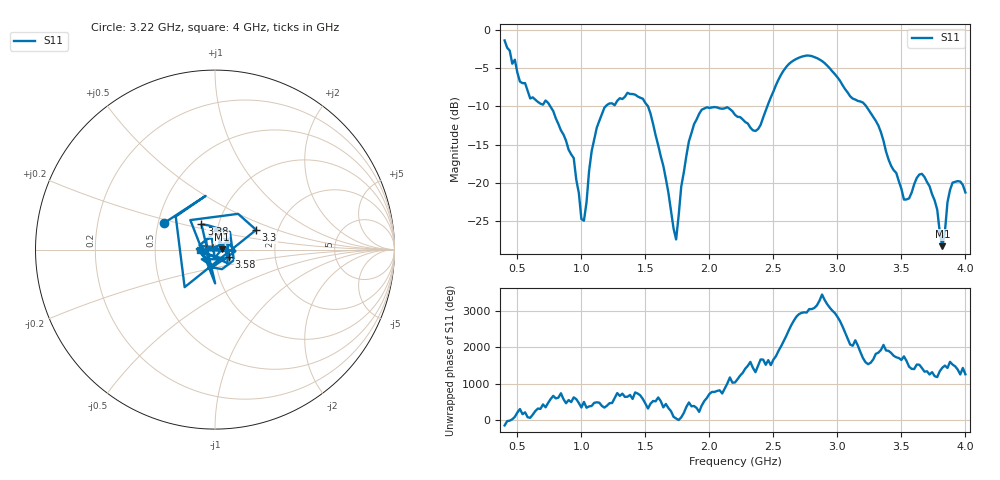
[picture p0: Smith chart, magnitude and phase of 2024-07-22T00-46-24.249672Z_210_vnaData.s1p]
!Created with skrf (http://scikit-rf.org).
# Hz S RI R 50.0
!freq ReS11 ImS11
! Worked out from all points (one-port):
!   181 points, 400 MHz to 4 GHz, reference 50 ohm
!   lowest |S11| = -28.3 dB at 3.82 GHz (marker M1), VSWR 1.08, Z = 54 + j0.248 ohm
!   |S11| at or under -10 dB: 757.8 MHz to 1.189 GHz (430.9 MHz wide, 44.3 % of centre); 1.521 GHz to 2.452 GHz (931.3 MHz wide, 46.9 % of centre); 3.226 GHz to end of sweep
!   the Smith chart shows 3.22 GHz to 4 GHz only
!   S11 on the Smith chart (normalised r, x): 3.22 GHz: 0.54, +0.17; 3.3 GHz: 1.54, +0.36; 3.38 GHz: 0.83, +0.24; 3.58 GHz: 1.16, -0.09; 4 GHz: 0.84, -0.01
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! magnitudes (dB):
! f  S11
! 400 MHz  -1.3
! 600 MHz  -9.0
! 740 MHz  -9.5
! 860 MHz  -13.7
! 940 MHz  -16.8
! 1.02 GHz  -25.0
! 1.12 GHz  -12.8
! 1.3 GHz  -8.9
! 1.52 GHz  -10.0
! 1.74 GHz  -27.5
! 1.76 GHz  -24.3
! 1.84 GHz  -14.6
! 1.92 GHz  -11.0
! 2.2 GHz  -11.1
! 2.38 GHz  -13.0
! 2.66 GHz  -3.9
! 2.88 GHz  -4.0
! 3.1 GHz  -8.7
! 3.22 GHz  -9.9
! 3.3 GHz  -11.9
! 3.38 GHz  -15.9
! 3.56 GHz  -22.1
! 3.58 GHz  -21.3
! 3.68 GHz  -19.2
! 3.78 GHz  -23.6
! 3.82 GHz  -28.3
! 3.9 GHz  -20.0
! 4 GHz  -21.3
